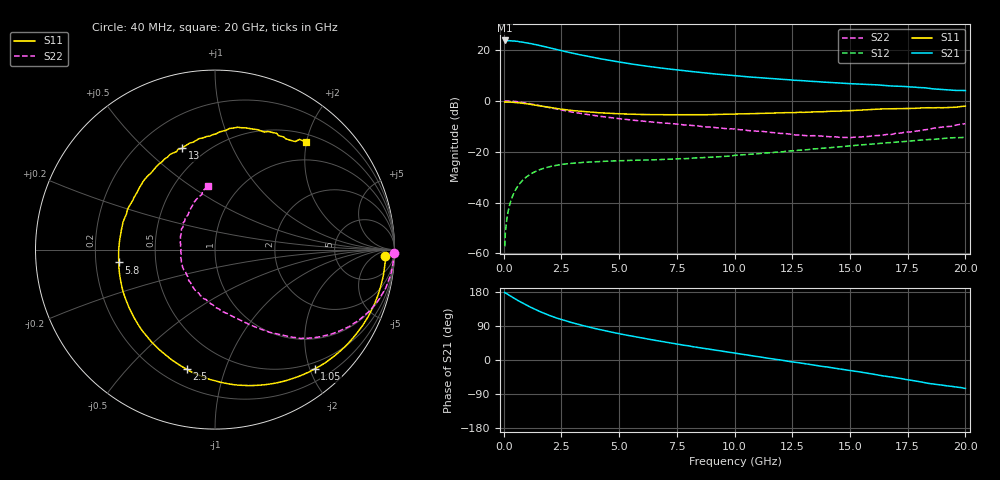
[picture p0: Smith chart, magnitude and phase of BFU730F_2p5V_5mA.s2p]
! Filename:  P:\Prog\Test\Noise\ATS_data\Testdata_Net\Split files Spar\BFU730_2W_B1_Bias4_2.5V_1mA_25mA_D.s2p
! Date/Time: Fri 29/Apr/2011 15:08:17
! BFU730_2W_B1_Bias4_2.5V_1mA_25mA_R.s2p
! MDIF S-parameter v. bias file
! BFU730_2W_B1_2.5V_1mA_25mA
! Date/time Thu Mar 17 13:38:09 2011
! VAR V_out= 2.5000
! VAR I_out= 5.0100
! VAR V_in= 0.7859
! VAR I_in= 0.0140
! Device data file deembeded for feedlines and parallel
! Original file: \Split files Spar\BFU730_2W_B1_Bias4_2.5V_1mA_25mA_R.s2p
! Feed-files: PR003V01_101208_Feed1.s2p, PR003V01_101208_Feed2.s2p
! Parallel-file: PR003V01_101208_Par.s2p
# MHz S MA R 50
!  Freq-MHz  S11-mag  S11-arg  S21-mag  S21-arg  S12-mag  S12-arg  S22-mag  S22-arg
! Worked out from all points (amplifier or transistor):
!   167 points, 40 MHz to 20 GHz, reference 50 ohm
!   highest |S21| = 23.7 dB at 50 MHz (marker M1)
!   |S21| within 3 dB of that: start of sweep to 2.036 GHz
!   unconditionally stable (mu >= 1): 6.946 GHz to 15.91 GHz
!   at 550 MHz: K = 0.07, MSG = 28.9 dB, |S12| = -34.5 dB
!   at 4.2 GHz: K = 0.62, MSG = 20.2 dB, |S12| = -23.8 dB
!   at 20 GHz: K = 0.79, MSG = 9.2 dB, |S12| = -14.3 dB
!   S11 on the Smith chart (normalised r, x): 40 MHz: 27, -18; 1.05 GHz: 0.39, -2.08; 2.5 GHz: 0.30, -0.75; 5.8 GHz: 0.30, -0.06; 13 GHz: 0.38, +0.66; 20 GHz: 0.63, +1.99
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40  0.9503 -2.0  15.35 178.4  0.001389 76.9  0.9958 -0.9
50  0.9477 -3.0  15.39 177.6  0.001404 70.4  0.9955 -1.3
60  0.9481 -2.8  15.19 177.4  0.001912 85.2  0.9962 -1.4
160  0.9489 -7.9  15.22 173.9  0.005525 83.8  0.9949 -4.1
420  0.9354 -20.8  15.1 164.2  0.01463 78.2  0.9802 -11.0
800  0.898 -39.0  14.36 150.8  0.02675 67.9  0.9341 -20.4
1050  0.8664 -50.1  13.66 142.8  0.03354 61.6  0.8942 -26.0
1400  0.8189 -64.9  12.71 132.5  0.04133 53.9  0.8331 -32.7
1750  0.7723 -78.3  11.71 123.3  0.04736 47.5  0.7737 -38.4
2100  0.7296 -90.5  10.72 114.9  0.05204 42.0  0.7176 -43.4
2500  0.6853 -103.2  9.692 106.8  0.05621 36.8  0.657 -48.1
2900  0.6507 -114.3  8.798 99.5  0.05884 32.3  0.6077 -51.6
3400  0.6182 -126.7  7.896 91.4  0.06141 28.2  0.5602 -55.8
4400  0.5737 -148.1  6.465 77.1  0.06502 22.4  0.4826 -62.9
5800  0.5409 -172.4  5.094 60.2  0.068 17.4  0.4079 -71.5
6800  0.5336 173.3  4.425 49.5  0.0701 15.7  0.3704 -77.9
8600  0.5345 150.8  3.57 31.2  0.07617 13.8  0.3117 -91.4
10200  0.5543 134.4  3.075 16.2  0.08584 13.3  0.2716 -105.7
13000  0.5935 108.0  2.478 -9.3  0.1081 7.2  0.2089 -140.1
13400  0.6037 105.1  2.409 -13.0  0.1131 5.8  0.2068 -147.3
16800  0.6991 76.1  1.958 -44.9  0.1516 -9.3  0.2181 144.6
20000  0.7856 49.9  1.592 -75.1  0.1917 -30.0  0.3548 96.0
